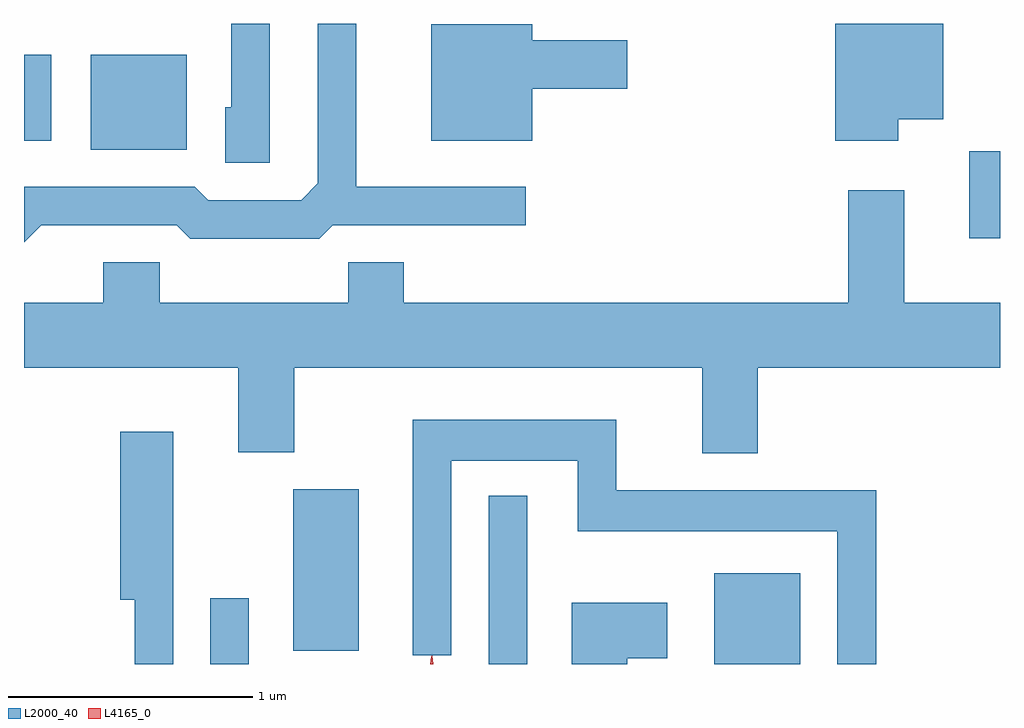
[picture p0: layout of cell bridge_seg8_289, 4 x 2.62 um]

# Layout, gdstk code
import gdstk
lib = gdstk.Library(unit=1e-6, precision=1e-09)
def R(c, l, rs):  # rectangles x0, y0, x1, y1
    for r in rs: c.add(gdstk.rectangle(r[:2], r[2:], *l))
def P(c, l, *ps):  # polygons
    for p in ps: c.add(gdstk.Polygon(p, *l))
L2000_40 = (2000, 40)
L4165_0 = (4165, 0)

bridge_seg8_289 = lib.new_cell('bridge_seg8_289')
R(bridge_seg8_289, L2000_40, [(1377.466,1806.342,1377.624,1806.613), (1378.606,1806.342,1378.764,1807.033), (1379.531,1806.342,1379.884,1806.714), (1377.806,1806.396,1378.074,1807.059), (1380.576,1808.088,1380.702,1808.444), (1376.976,1808.451,1377.369,1808.839), (1376.702,1808.486,1376.814,1808.839)])
P(bridge_seg8_289, L2000_40, [(1376.772,1808.141),(1377.329,1808.141),(1377.384,1808.086),(1377.912,1808.086),(1377.967,1808.141),(1378.758,1808.141),(1378.758,1808.299),(1378.064,1808.299),(1378.064,1808.966),(1377.906,1808.966),(1377.906,1808.312),(1377.839,1808.244),(1377.457,1808.244),(1377.402,1808.299),(1376.702,1808.299),(1376.702,1808.071)],
  [(1380.284,1808.576),(1380.469,1808.576),(1380.469,1808.966),(1380.026,1808.966),(1380.026,1808.486),(1380.284,1808.486)],
  [(1377.709,1808.966),(1377.551,1808.966),(1377.551,1808.624),(1377.526,1808.624),(1377.526,1808.396),(1377.709,1808.396)],
  [(1378.784,1808.701),(1379.174,1808.701),(1379.174,1808.899),(1378.784,1808.899),(1378.784,1808.964),(1378.371,1808.964),(1378.371,1808.486),(1378.784,1808.486)],
  [(1379.709,1807.556),(1380.702,1807.556),(1380.702,1807.824),(1380.309,1807.824),(1380.309,1808.284),(1380.081,1808.284),(1380.081,1807.824),(1378.259,1807.824),(1378.259,1807.989),(1378.031,1807.989),(1378.031,1807.824),(1377.259,1807.824),(1377.259,1807.989),(1377.026,1807.989),(1377.026,1807.824),(1376.702,1807.824),(1376.702,1807.556),(1377.581,1807.556),(1377.581,1807.211),(1377.809,1807.211),(1377.809,1807.556),(1379.481,1807.556),(1379.481,1807.206),(1379.709,1807.206)],
  [(1380.194,1807.054),(1379.129,1807.054),(1379.129,1807.344),(1378.296,1807.344),(1378.296,1806.378),(1378.454,1806.378),(1378.454,1807.176),(1378.971,1807.176),(1378.971,1806.886),(1380.036,1806.886),(1380.036,1806.342),(1380.194,1806.342)],
  [(1377.314,1807.294),(1377.096,1807.294),(1377.096,1806.606),(1377.156,1806.606),(1377.156,1806.342),(1377.314,1806.342)],
  [(1379.174,1806.366),(1379.339,1806.366),(1379.339,1806.594),(1378.946,1806.594),(1378.946,1806.342),(1379.174,1806.342)])
P(bridge_seg8_289, L4165_0, [(1378.37,1806.342),(1378.374,1806.376),(1378.376,1806.376),(1378.38,1806.342)],
  [(1378.367,1806.342),(1378.372,1806.372),(1378.372,1806.373),(1378.373,1806.372),(1378.377,1806.342)])

lib.write_gds('bridge_seg8_289.gds')
